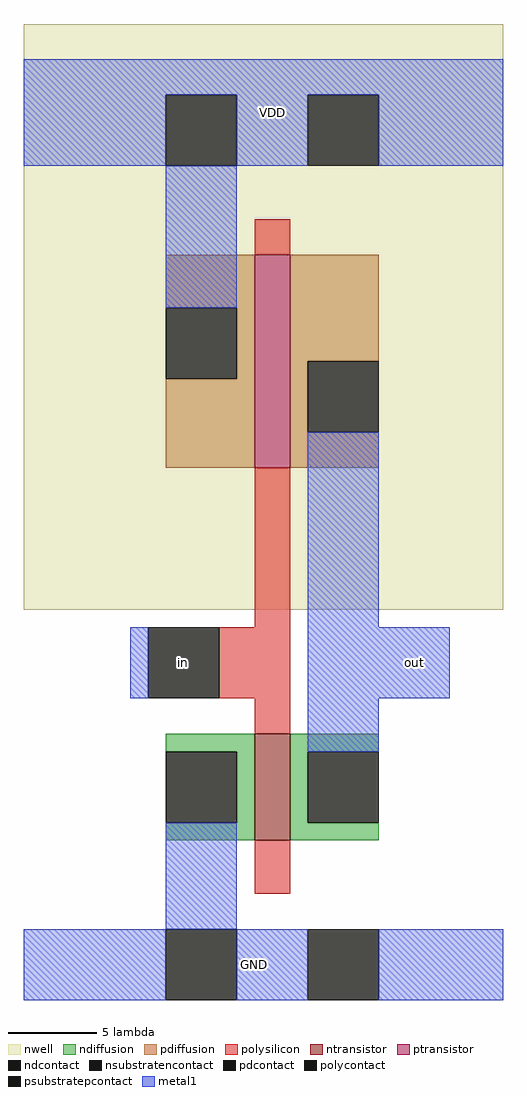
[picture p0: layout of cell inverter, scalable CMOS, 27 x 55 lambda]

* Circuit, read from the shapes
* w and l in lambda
.subckt inverter GND VDD in out
M1 out in GND GND nfet w=6 l=2
M2 out in VDD VDD pfet w=12 l=2
.ends

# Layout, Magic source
magic
tech scmos
<< nwell >>
rect 5 5 32 38
<< ntransistor >>
rect 18 -8 20 -2
<< ptransistor >>
rect 18 13 20 25
<< ndiffusion >>
rect 13 -3 18 -2
rect 17 -7 18 -3
rect 13 -8 18 -7
rect 20 -3 25 -2
rect 20 -7 21 -3
rect 20 -8 25 -7
<< pdiffusion >>
rect 13 22 18 25
rect 17 18 18 22
rect 13 13 18 18
rect 20 19 25 25
rect 20 15 21 19
rect 20 13 25 15
<< ndcontact >>
rect 13 -7 17 -3
rect 21 -7 25 -3
<< pdcontact >>
rect 13 18 17 22
rect 21 15 25 19
<< psubstratepcontact >>
rect 13 -17 17 -13
rect 21 -17 25 -13
<< nsubstratencontact >>
rect 13 30 17 34
rect 21 30 25 34
<< polysilicon >>
rect 18 25 20 27
rect 18 4 20 13
rect 16 0 20 4
rect 18 -2 20 0
rect 18 -11 20 -8
<< polycontact >>
rect 12 0 16 4
<< metal1 >>
rect 5 34 32 36
rect 5 30 13 34
rect 17 30 21 34
rect 25 30 32 34
rect 13 22 17 30
rect 21 4 25 15
rect 11 0 12 4
rect 21 0 29 4
rect 21 -3 25 0
rect 13 -13 17 -7
rect 5 -17 13 -13
rect 17 -17 21 -13
rect 25 -17 32 -13
<< labels >>
rlabel polycontact 14 2 14 2 1 in
rlabel metal1 27 2 27 2 7 out
rlabel metal1 19 33 19 33 5 VDD
rlabel metal1 18 -15 18 -15 1 GND
<< end >>
